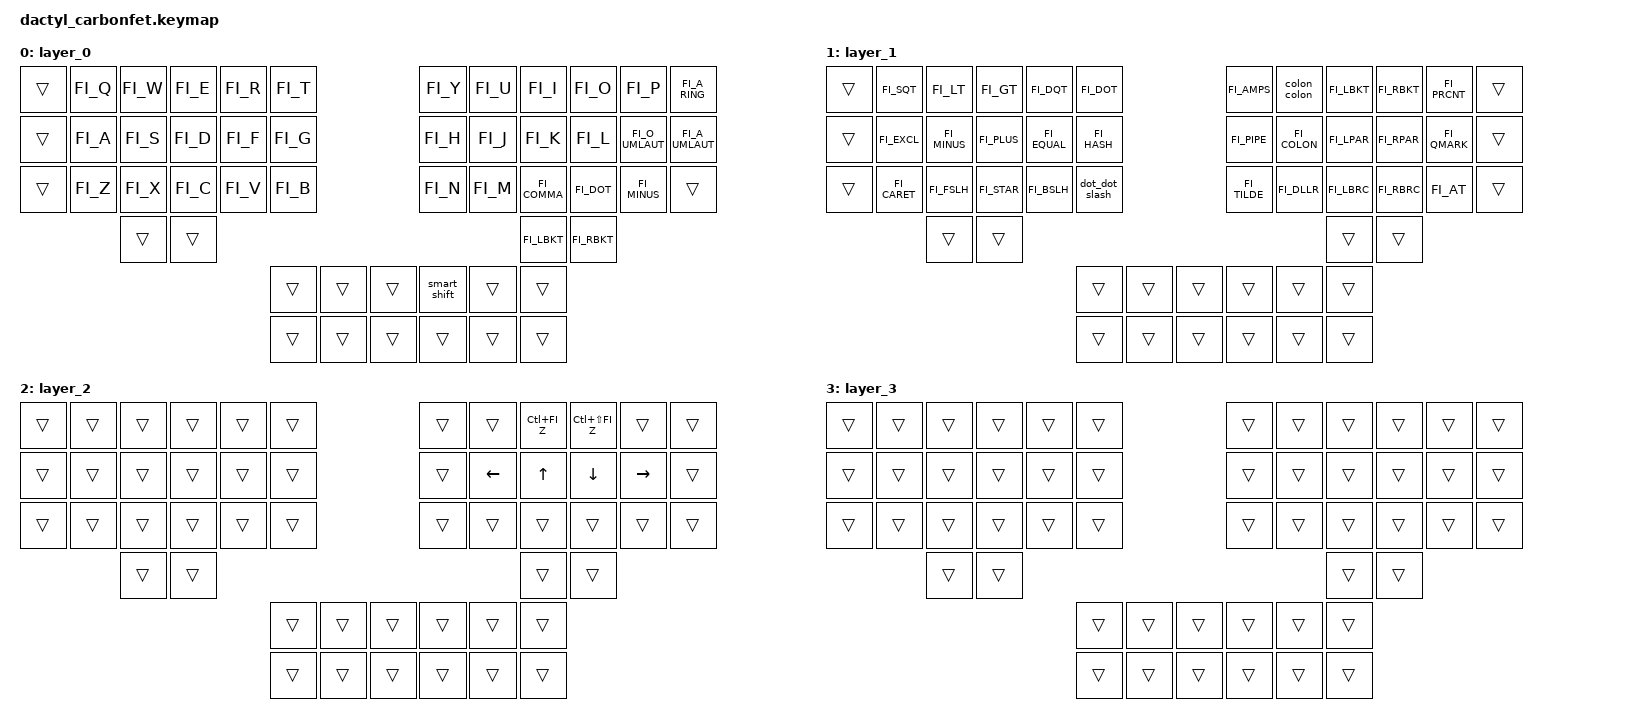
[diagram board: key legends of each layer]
#include "keys_fi.h"
#include <behaviors.dtsi>
#include <dt-bindings/zmk/keys.h>

/ {
    macros {
        dot_dot_slash: dot_dot_slash {
            compatible = "zmk,behavior-macro";
            #binding-cells = <0>;
            bindings = <&kp FI_DOT &kp FI_DOT &kp FI_SLASH>;
            label = "../";
        };

        colon_colon: colon_colon {
            compatible = "zmk,behavior-macro";
            #binding-cells = <0>;
            bindings = <&kp FI_COLON &kp FI_COLON>;
            label = "::";
        };
    };

    behaviors {
        smart_shift: smart_shift {
            compatible = "zmk,behavior-mod-morph";
            label = "SMART_SHIFT";
            bindings = <&sk LSHIFT>, <&caps_word>;

            #binding-cells = <0>;
            mods = <(MOD_LSFT)>;
        };
    };

    keymap {
        compatible = "zmk,keymap";

        layer_0 {
            bindings = <
&trans  &kp FI_Q  &kp FI_W  &kp FI_E  &kp FI_R  &kp FI_T                                                        &kp FI_Y  &kp FI_U  &kp FI_I      &kp FI_O     &kp FI_P         &kp FI_A_RING
&trans  &kp FI_A  &kp FI_S  &kp FI_D  &kp FI_F  &kp FI_G                                                        &kp FI_H  &kp FI_J  &kp FI_K      &kp FI_L     &kp FI_O_UMLAUT  &kp FI_A_UMLAUT
&trans  &kp FI_Z  &kp FI_X  &kp FI_C  &kp FI_V  &kp FI_B                                                        &kp FI_N  &kp FI_M  &kp FI_COMMA  &kp FI_DOT   &kp FI_MINUS     &trans
                  &trans    &trans                                                                                                  &kp FI_LBKT   &kp FI_RBKT
                                                          &trans  &trans  &trans  &smart_shift  &trans  &trans
                                                          &trans  &trans  &trans  &trans        &trans  &trans
            >;
        };

        layer_1 {
            bindings = <
&trans  &kp FI_SQT    &kp FI_LT     &kp FI_GT    &kp FI_DQT    &kp FI_DOT                                                      &kp FI_AMPS   &colon_colon  &kp FI_LBKT  &kp FI_RBKT  &kp FI_PRCNT  &trans
&trans  &kp FI_EXCL   &kp FI_MINUS  &kp FI_PLUS  &kp FI_EQUAL  &kp FI_HASH                                                     &kp FI_PIPE   &kp FI_COLON  &kp FI_LPAR  &kp FI_RPAR  &kp FI_QMARK  &trans
&trans  &kp FI_CARET  &kp FI_FSLH   &kp FI_STAR  &kp FI_BSLH   &dot_dot_slash                                                  &kp FI_TILDE  &kp FI_DLLR   &kp FI_LBRC  &kp FI_RBRC  &kp FI_AT     &trans
                      &trans        &trans                                                                                                                 &trans       &trans
                                                                               &trans  &trans  &trans  &trans  &trans  &trans
                                                                               &trans  &trans  &trans  &trans  &trans  &trans
            >;
        };

        layer_2 {
            bindings = <
&trans  &trans  &trans  &trans  &trans  &trans                                                  &trans  &trans    &kp LC(FI_Z)  &kp LC(LS(FI_Z))  &trans     &trans
&trans  &trans  &trans  &trans  &trans  &trans                                                  &trans  &kp LEFT  &kp UP        &kp DOWN          &kp RIGHT  &trans
&trans  &trans  &trans  &trans  &trans  &trans                                                  &trans  &trans    &trans        &trans            &trans     &trans
                &trans  &trans                                                                                    &trans        &trans
                                                &trans  &trans  &trans  &trans  &trans  &trans
                                                &trans  &trans  &trans  &trans  &trans  &trans
            >;
        };

        layer_3 {
            bindings = <
&trans  &trans  &trans  &trans  &trans  &trans                                                  &trans  &trans  &trans  &trans  &trans  &trans
&trans  &trans  &trans  &trans  &trans  &trans                                                  &trans  &trans  &trans  &trans  &trans  &trans
&trans  &trans  &trans  &trans  &trans  &trans                                                  &trans  &trans  &trans  &trans  &trans  &trans
                &trans  &trans                                                                                  &trans  &trans
                                                &trans  &trans  &trans  &trans  &trans  &trans
                                                &trans  &trans  &trans  &trans  &trans  &trans
            >;
        };
    };
};
